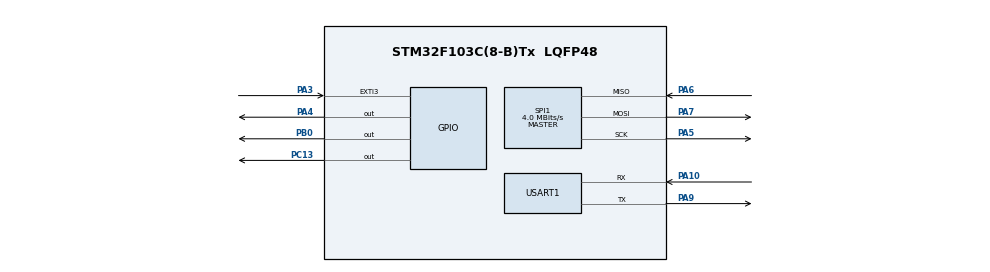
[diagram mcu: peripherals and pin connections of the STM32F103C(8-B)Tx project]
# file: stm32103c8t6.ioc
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Mcu.Family=STM32F1
Mcu.Name=STM32F103C(8-B)Tx
Mcu.Package=LQFP48
NVIC.PriorityGroup=NVIC_PRIORITYGROUP_4
PA10.Mode=Asynchronous
PA10.Signal=USART1_RX
PA13.Mode=Serial_Wire
PA13.Signal=SYS_JTMS-SWDIO
PA14.Mode=Serial_Wire
PA14.Signal=SYS_JTCK-SWCLK
PA3.Signal=GPXTI3
PA4.Signal=GPIO_Output
PA5.Mode=Full_Duplex_Master
PA5.Signal=SPI1_SCK
PA6.Mode=Full_Duplex_Master
PA6.Signal=SPI1_MISO
PA7.Mode=Full_Duplex_Master
PA7.Signal=SPI1_MOSI
PA9.Mode=Asynchronous
PA9.Signal=USART1_TX
PB0.Signal=GPIO_Output
PC13-TAMPER-RTC.Signal=GPIO_Output
ProjectManager.HeapSize=0x200
ProjectManager.StackSize=0x400
ProjectManager.TargetToolchain=MDK-ARM V5.32
RCC.APB1Freq_Value=8000000
RCC.APB2Freq_Value=8000000
SPI1.CalculateBaudRate=4.0 MBits/s
SPI1.Direction=SPI_DIRECTION_2LINES
SPI1.Mode=SPI_MODE_MASTER
SPI1.VirtualType=VM_MASTER
USART1.VirtualMode=VM_ASYNC
board=custom

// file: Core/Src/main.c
/* USER CODE BEGIN Header */
/**
 ******************************************************************************
 * @file           : main.c
 * @brief          : F103 Gateway RX Node (Production Ready)
 ******************************************************************************
 */
/* USER CODE END Header */
#include "main.h"

SPI_HandleTypeDef hspi1;
UART_HandleTypeDef huart1;

/* USER CODE BEGIN PV */
uint8_t rx_buffer[64]; // [??] ????????? (Receive Buffer)
/* USER CODE END PV */

void SystemClock_Config(void);
static void MX_GPIO_Init(void);
static void MX_USART1_UART_Init(void);
static void MX_SPI1_Init(void);

/* USER CODE BEGIN PFP */
uint8_t SX1278_ReadReg(uint8_t addr);
void SX1278_WriteReg(uint8_t addr, uint8_t data);

// ???????
void SX1278_LoRa_Init(void);
void SX1278_ReadFIFO(uint8_t *buf, uint8_t len);
void Parse_Data(char *buf, int rssi);
/* USER CODE END PFP */

/* USER CODE BEGIN 0 */
#include <stdio.h>
#include <string.h>
/* USER CODE END 0 */

int main(void) {
  HAL_Init();
  SystemClock_Config();
  MX_GPIO_Init();
  MX_USART1_UART_Init();
  MX_SPI1_Init();

  /* USER CODE BEGIN 2 */

  // 1. ????
  HAL_GPIO_WritePin(GPIOB, GPIO_PIN_0, GPIO_PIN_RESET);
  HAL_Delay(20);
  HAL_GPIO_WritePin(GPIOB, GPIO_PIN_0, GPIO_PIN_SET);
  HAL_Delay(50);

  // 2. ???????
  uint8_t version = SX1278_ReadReg(0x42);
  if (version != 0x12) {
    uint8_t err_msg[] = "[FATAL] SX1278 Not Found! System Halted.\r\n";
    HAL_UART_Transmit(&huart1, err_msg, sizeof(err_msg) - 1, 100);
    while (1)
      ;
  }

  // 3. ???????? LoRa ???
  SX1278_LoRa_Init();

  uint8_t boot_msg[] = "\r\n[Gateway] LoRa Core Init OK.\r\n[Gateway] "
                       "Listening on 433MHz, SF7, BW125...\r\n";
  HAL_UART_Transmit(&huart1, boot_msg, sizeof(boot_msg) - 1, 100);

  /* USER CODE END 2 */

  /* Infinite loop */
  while (1) {

    /* USER CODE BEGIN 3 */

    // ========================================================
    // ?????? (Complete RX Flow)
    // ========================================================
    uint8_t irq_flags = SX1278_ReadReg(0x12);

    if (irq_flags & 0x40) // ?????? RxDone (Bit 6)
    {
      // [??????] ?????????? FIFO ????????
      uint8_t rx_start_addr = SX1278_ReadReg(0x10); // FifoRxCurrentAddr

      // ????????
      uint8_t len = SX1278_ReadReg(0x13); // RxNbBytes

      // ????,???????
      if (len > 63)
        len = 63;

      // ? SPI ?????????????
      SX1278_WriteReg(0x0D, rx_start_addr); // FifoAddrPtr = FifoRxCurrentAddr

      // ?? FIFO ??? rx_buffer
      SX1278_ReadFIFO(rx_buffer, len);
      rx_buffer[len] = '\0'; // ?????,??????

      // ?????? (RSSI)
      // HF ?? (? 433MHz) ?????: ???? - 157
      int rssi = SX1278_ReadReg(0x1A) - 157;

      // ??????????????
      Parse_Data((char *)rx_buffer, rssi);

      // ??????? (? 1 ??????)
      SX1278_WriteReg(0x12, 0xFF);
    }

    // ????
    HAL_GPIO_TogglePin(GPIOC, GPIO_PIN_13);

    // ?????? (50ms)
    HAL_Delay(50);
  }
  /* USER CODE END 3 */
}

/* USER CODE BEGIN 4 */

// ======================================================================
// ?????:?????? (Data Parsing Engine / Tr�nh ph�n t�ch d? li?u)
// ======================================================================
void Parse_Data(char *buf, int rssi) {
  int node_id;
  float temp, humi;
  char report[128];

  // ?? sscanf ?????? "NodeID,Temp,Humi" ????
  // ??:????????,???? Keil ??? Target ??????? "Use MicroLIB"
  if (sscanf(buf, "%d,%f,%f", &node_id, &temp, &humi) == 3) {
    // ????,???????
    int len = sprintf(report,
                      "\r\n[Data Parsed] Node: %02d | Temp: %.1f C | Humi: "
                      "%.1f %% | RSSI: %d dBm\r\n",
                      node_id, temp, humi, rssi);
    HAL_UART_Transmit(&huart1, (uint8_t *)report, len, 100);
  } else {
    // ????,??????????
    int len =
        sprintf(report, "\r\n[Raw Frame] %s (RSSI: %d dBm)\r\n", buf, rssi);
    HAL_UART_Transmit(&huart1, (uint8_t *)report, len, 100);
  }
}

// ======================================================================
// ?????:LoRa ???? (LoRa Driver Module / M�-dun tr�nh di?u khi?n LoRa)
// ======================================================================

/**
 * @brief  ?? SX1278 FIFO ?????
 */
void SX1278_ReadFIFO(uint8_t *buf, uint8_t len) {
  // ? SX1278 ?,?? 0x00 ???????????????
  // ???????????? 0x00 ?????????
  for (int i = 0; i < len; i++) {
    buf[i] = SX1278_ReadReg(0x00);
  }
}

/**
 * @brief  ?????? LoRa RX ???
 */
void SX1278_LoRa_Init(void) {
  // 1. Sleep
  SX1278_WriteReg(0x01, 0x80);
  HAL_Delay(10);

  // 2. ??? LoRa Standby ??
  SX1278_WriteReg(0x01, 0x81);
  HAL_Delay(10);

  // 3. ??(433MHz = 0x6C4000)
  SX1278_WriteReg(0x06, 0x6C);
  SX1278_WriteReg(0x07, 0x40);
  SX1278_WriteReg(0x08, 0x00);

  // 4. LNA ????,???????
  SX1278_WriteReg(0x0C, 0x23);

  // 5. ???????: BW125 (0x72), SF7 (0x74)
  SX1278_WriteReg(0x1D, 0x72);
  SX1278_WriteReg(0x1E, 0x74);

  // 6. ?? FIFO ?????
  SX1278_WriteReg(0x0E, 0x00); // TxBase
  SX1278_WriteReg(0x0F, 0x00); // RxBase

  // 7. ???
  SX1278_WriteReg(0x12, 0xFF);

  // 8. ??? RxContinuous ??????
  SX1278_WriteReg(0x01, 0x85);
}

// ---------------------------------------------
// ?? SPI ???? (SPI Primitives)
// ---------------------------------------------
uint8_t SX1278_ReadReg(uint8_t addr) {
  uint8_t tx[2];
  uint8_t rx[2];

  tx[0] = addr & 0x7F;
  tx[1] = 0x00;

  HAL_GPIO_WritePin(GPIOA, GPIO_PIN_4, GPIO_PIN_RESET);
  // [??????] ???? SPI ????
  HAL_StatusTypeDef status = HAL_SPI_TransmitReceive(&hspi1, tx, rx, 2, 100);
  HAL_GPIO_WritePin(GPIOA, GPIO_PIN_4, GPIO_PIN_SET);

  if (status != HAL_OK) {
    return 0xEE; // ???????
  }

  return rx[1];
}

void SX1278_WriteReg(uint8_t addr, uint8_t data) {
  uint8_t tx[2];
  tx[0] = addr | 0x80;
  tx[1] = data;
  HAL_GPIO_WritePin(GPIOA, GPIO_PIN_4, GPIO_PIN_RESET);
  HAL_SPI_Transmit(&hspi1, tx, 2, 100);
  HAL_GPIO_WritePin(GPIOA, GPIO_PIN_4, GPIO_PIN_SET);
}

/* USER CODE END 4 */

void SystemClock_Config(void) {
  RCC_OscInitTypeDef RCC_OscInitStruct = {0};
  RCC_ClkInitTypeDef RCC_ClkInitStruct = {0};
  RCC_OscInitStruct.OscillatorType = RCC_OSCILLATORTYPE_HSI;
  RCC_OscInitStruct.HSIState = RCC_HSI_ON;
  RCC_OscInitStruct.HSICalibrationValue = RCC_HSICALIBRATION_DEFAULT;
  RCC_OscInitStruct.PLL.PLLState = RCC_PLL_NONE;
  if (HAL_RCC_OscConfig(&RCC_OscInitStruct) != HAL_OK) {
    Error_Handler();
  }
  RCC_ClkInitStruct.ClockType = RCC_CLOCKTYPE_HCLK | RCC_CLOCKTYPE_SYSCLK |
                                RCC_CLOCKTYPE_PCLK1 | RCC_CLOCKTYPE_PCLK2;
  RCC_ClkInitStruct.SYSCLKSource = RCC_SYSCLKSOURCE_HSI;
  RCC_ClkInitStruct.AHBCLKDivider = RCC_SYSCLK_DIV1;
  RCC_ClkInitStruct.APB1CLKDivider = RCC_HCLK_DIV1;
  RCC_ClkInitStruct.APB2CLKDivider = RCC_HCLK_DIV1;
  if (HAL_RCC_ClockConfig(&RCC_ClkInitStruct, FLASH_LATENCY_0) != HAL_OK) {
    Error_Handler();
  }
}

static void MX_SPI1_Init(void) {
  __HAL_RCC_SPI1_CLK_ENABLE();
  hspi1.Instance = SPI1;
  hspi1.Init.Mode = SPI_MODE_MASTER;
  hspi1.Init.Direction = SPI_DIRECTION_2LINES;
  hspi1.Init.DataSize = SPI_DATASIZE_8BIT;
  hspi1.Init.CLKPolarity = SPI_POLARITY_LOW;
  hspi1.Init.CLKPhase = SPI_PHASE_1EDGE;
  hspi1.Init.NSS = SPI_NSS_SOFT;
  hspi1.Init.BaudRatePrescaler = SPI_BAUDRATEPRESCALER_32;
  hspi1.Init.FirstBit = SPI_FIRSTBIT_MSB;
  hspi1.Init.TIMode = SPI_TIMODE_DISABLE;
  hspi1.Init.CRCCalculation = SPI_CRCCALCULATION_DISABLE;
  hspi1.Init.CRCPolynomial = 10;
  if (HAL_SPI_Init(&hspi1) != HAL_OK) {
    Error_Handler();
  }
}

static void MX_USART1_UART_Init(void) {
  __HAL_RCC_USART1_CLK_ENABLE();
  huart1.Instance = USART1;
  huart1.Init.BaudRate = 9600;
  huart1.Init.WordLength = UART_WORDLENGTH_8B;
  huart1.Init.StopBits = UART_STOPBITS_1;
  huart1.Init.Parity = UART_PARITY_NONE;
  huart1.Init.Mode = UART_MODE_TX_RX;
  huart1.Init.HwFlowCtl = UART_HWCONTROL_NONE;
  huart1.Init.OverSampling = UART_OVERSAMPLING_16;
  if (HAL_UART_Init(&huart1) != HAL_OK) {
    Error_Handler();
  }
}

static void MX_GPIO_Init(void) {
  GPIO_InitTypeDef GPIO_InitStruct = {0};
  __HAL_RCC_AFIO_CLK_ENABLE();
  __HAL_RCC_GPIOC_CLK_ENABLE();
  __HAL_RCC_GPIOA_CLK_ENABLE();
  __HAL_RCC_GPIOB_CLK_ENABLE();

  HAL_GPIO_WritePin(GPIOC, GPIO_PIN_13, GPIO_PIN_SET);
  HAL_GPIO_WritePin(GPIOA, GPIO_PIN_4, GPIO_PIN_SET);
  HAL_GPIO_WritePin(GPIOB, GPIO_PIN_0, GPIO_PIN_RESET);

  GPIO_InitStruct.Pin = GPIO_PIN_9;
  GPIO_InitStruct.Mode = GPIO_MODE_AF_PP;
  GPIO_InitStruct.Speed = GPIO_SPEED_FREQ_HIGH;
  HAL_GPIO_Init(GPIOA, &GPIO_InitStruct);

  GPIO_InitStruct.Pin = GPIO_PIN_10;
  GPIO_InitStruct.Mode = GPIO_MODE_INPUT;
  GPIO_InitStruct.Pull = GPIO_NOPULL;
  HAL_GPIO_Init(GPIOA, &GPIO_InitStruct);

  GPIO_InitStruct.Pin = GPIO_PIN_5 | GPIO_PIN_7;
  GPIO_InitStruct.Mode = GPIO_MODE_AF_PP;
  GPIO_InitStruct.Speed = GPIO_SPEED_FREQ_HIGH;
  HAL_GPIO_Init(GPIOA, &GPIO_InitStruct);

  GPIO_InitStruct.Pin = GPIO_PIN_6;
  GPIO_InitStruct.Mode = GPIO_MODE_INPUT;
  GPIO_InitStruct.Pull = GPIO_NOPULL;
  HAL_GPIO_Init(GPIOA, &GPIO_InitStruct);

  GPIO_InitStruct.Pin = GPIO_PIN_13;
  GPIO_InitStruct.Mode = GPIO_MODE_OUTPUT_PP;
  GPIO_InitStruct.Pull = GPIO_NOPULL;
  GPIO_InitStruct.Speed = GPIO_SPEED_FREQ_LOW;
  HAL_GPIO_Init(GPIOC, &GPIO_InitStruct);

  GPIO_InitStruct.Pin = GPIO_PIN_4;
  GPIO_InitStruct.Mode = GPIO_MODE_OUTPUT_PP;
  GPIO_InitStruct.Pull = GPIO_NOPULL;
  GPIO_InitStruct.Speed = GPIO_SPEED_FREQ_LOW;
  HAL_GPIO_Init(GPIOA, &GPIO_InitStruct);

  GPIO_InitStruct.Pin = GPIO_PIN_0;
  GPIO_InitStruct.Mode = GPIO_MODE_OUTPUT_PP;
  GPIO_InitStruct.Pull = GPIO_NOPULL;
  GPIO_InitStruct.Speed = GPIO_SPEED_FREQ_LOW;
  HAL_GPIO_Init(GPIOB, &GPIO_InitStruct);
}

void Error_Handler(void) {
  __disable_irq();
  while (1) {
  }
}
